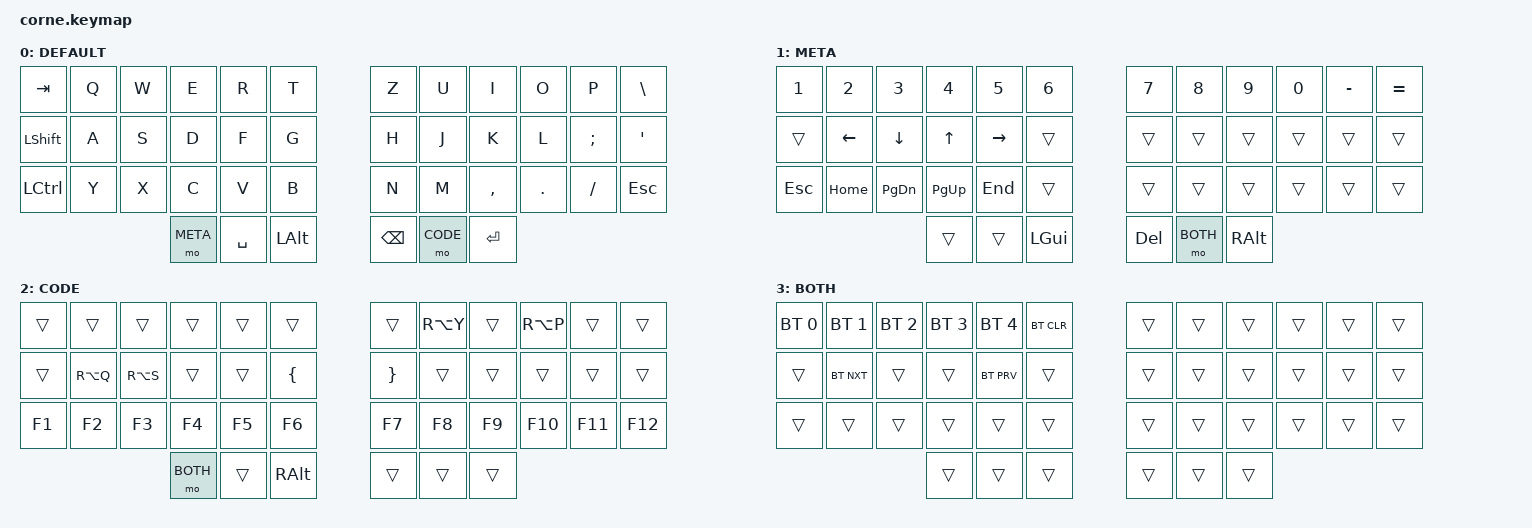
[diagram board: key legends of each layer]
/*
 * Copyright (c) 2020 The ZMK Contributors
 *
 * SPDX-License-Identifier: MIT
 */

#include <behaviors.dtsi>
#include <dt-bindings/zmk/keys.h>
#include <dt-bindings/zmk/bt.h>

#define DEFAULT 0
#define META 1
#define CODE 2
#define BOTH 3

/ {
        keymap {
                compatible = "zmk,keymap";

                DEFAULT {

                        bindings = <
   &kp TAB   &kp Q &kp W &kp E &kp R &kp T   &kp Z &kp U  &kp I     &kp O   &kp P    &kp BSLH
   &kp LSHFT &kp A &kp S &kp D &kp F &kp G   &kp H &kp J  &kp K     &kp L   &kp SEMI &kp SQT
   &kp LCTRL &kp Y &kp X &kp C &kp V &kp B   &kp N &kp M  &kp COMMA &kp DOT &kp FSLH &kp ESC
                  &mo META &kp SPACE &kp LALT   &kp BSPC &mo CODE &kp RET
                        >;
                };
                META {

                        bindings = <
   &kp N1       &kp N2          &kp N3          &kp N4          &kp N5          &kp N6                  &kp N7   &kp N8   &kp N9 &kp N0    &kp MINUS    &kp EQUAL
   &trans      &kp LEFT        &kp DOWN        &kp UP          &kp RIGHT       &trans                  &trans &trans &trans &trans &trans       &trans
   &kp ESC       &kp HOME        &kp PG_DN       &kp PG_UP       &kp END         &trans                    &trans   &trans   &trans &trans    &trans       &trans
                                                &trans          &trans          &kp LGUI                  &kp DEL  &mo BOTH &kp RALT
                        >;
                };

                CODE {
                        bindings = <
   &trans    &trans    &trans    &trans    &trans      &trans              &trans    &kp RA(Y)    &trans    &kp RA(P)    &trans    &trans
   &trans    &kp RA(Q) &kp RA(S)    &trans    &trans   &kp LBRC            &kp RBRC    &trans    &trans    &trans    &trans    &trans
   &kp F1    &kp F2    &kp F3    &kp F4    &kp F5      &kp F6              &kp F7    &kp F8    &kp F9    &kp F10   &kp F11   &kp F12
                                &mo BOTH    &trans       &kp RALT              &trans    &trans    &trans
                        >;
                };
                
                BOTH {
                        bindings = <
   &bt BT_SEL 0 &bt BT_SEL 1 &bt BT_SEL 2       &bt BT_SEL 3    &bt BT_SEL 4    &bt BT_CLR              &trans    &trans    &trans    &trans    &trans    &trans
   &trans       &bt BT_NXT   &trans             &trans          &bt BT_PRV      &trans                  &trans    &trans    &trans    &trans    &trans    &trans
   &trans       &trans       &trans             &trans          &trans          &trans                  &trans    &trans    &trans    &trans    &trans    &trans
                                                &trans          &trans          &trans                  &trans    &trans    &trans
                        >;
                };
        };
};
